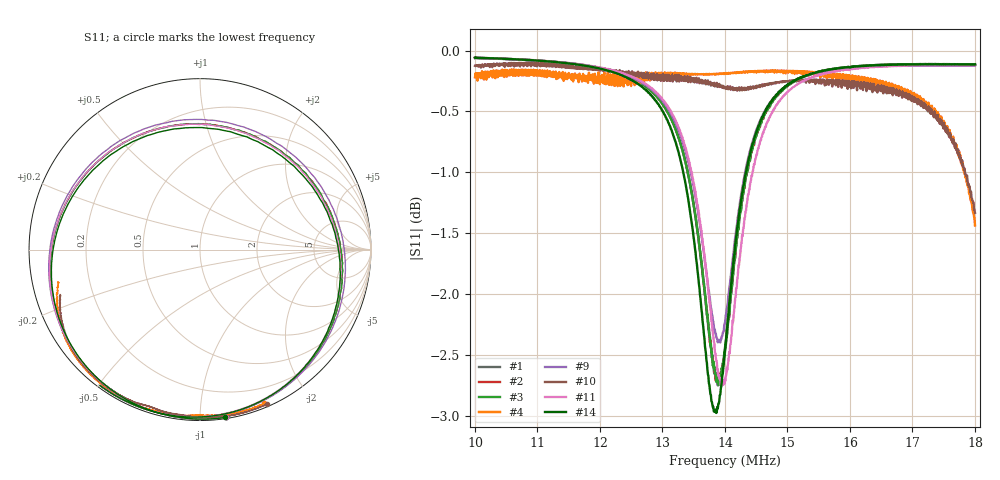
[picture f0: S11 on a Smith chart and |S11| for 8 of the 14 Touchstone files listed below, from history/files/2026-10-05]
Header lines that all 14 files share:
! NanoVNA Web complex sweep
! Processing: unaveraged complex samples; linear segment spacing; no smoothing
# Hz S RI R 50
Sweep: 10 MHz to 18 MHz
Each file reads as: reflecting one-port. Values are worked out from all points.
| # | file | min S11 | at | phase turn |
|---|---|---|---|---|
| 1 | noAIT_no_probe_loop_rep1_nanovna-sweep-1791221403390.s1p | -2.7 dB | 13.89 MHz | -405 deg |
| 2 | noAIT_no_probe_loop_rep2_nanovna-sweep-1791221419069.s1p | -2.7 dB | 13.91 MHz | -405 deg |
| 3 | noAIT_no_probe_loop_rep3_nanovna-sweep-1791221429669.s1p | -2.7 dB | 13.9 MHz | -405 deg |
| 4 | noAIT_stainless-bolts_alligatorclips_nanovna-sweep-1791230768590.s1p | -1.4 dB | 18 MHz | -99 deg |
| 5 | noAIT_stainless-bolts_fix_rep1_nanovna-sweep-1791231413747.s1p | -2.4 dB | 13.91 MHz | -405 deg |
| 6 | noAIT_stainless-bolts_fix_rep2_nanovna-sweep-1791231454279.s1p | -2.4 dB | 13.91 MHz | -405 deg |
| 7 | noAIT_stainless-bolts_fix_rep3_nanovna-sweep-1791231463580.s1p | -2.4 dB | 13.91 MHz | -405 deg |
| 8 | noAIT_stainless-bolts_fix_rep4_nanovna-sweep-1791231492516.s1p | -2.4 dB | 13.91 MHz | -405 deg |
| 9 | noAIT_stainless-bolts_fix_rep5_nanovna-sweep-1791231504237.s1p | -2.4 dB | 13.92 MHz | -405 deg |
| 10 | noAIT_stainless-botls_rep2_nanovna-sweep-1791230802648.s1p | -1.3 dB | 18 MHz | -95 deg |
| 11 | noAIT_stainless_bolts_nanovna-sweep-1791230671079.s1p | -2.7 dB | 13.95 MHz | -405 deg |
| 12 | noAIT_with_probe_loop_nanovna-sweep-1791221192083.s1p | -3.0 dB | 13.85 MHz | -405 deg |
| 13 | noAIT_with_probe_loop_rep2_nanovna-sweep-1791221253952.s1p | -3.0 dB | 13.85 MHz | -405 deg |
| 14 | noAIT_with_probe_loop_rep3_nanovna-sweep-1791221267907.s1p | -3.0 dB | 13.86 MHz | -405 deg |
